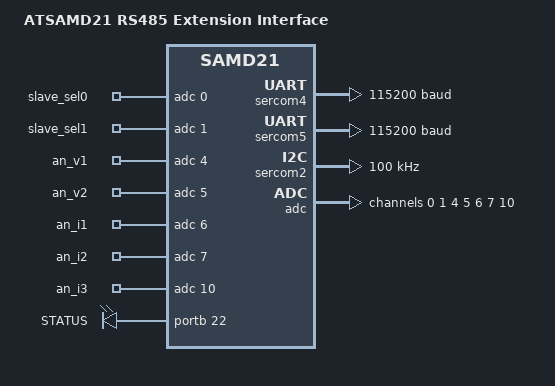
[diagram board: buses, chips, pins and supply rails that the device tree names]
/*
 * Copyright (c) 2020 Google LLC.
 *
 * SPDX-License-Identifier: Apache-2.0
 */

/dts-v1/;
#include <atmel/samd21.dtsi>
#include <atmel/samx2xx18.dtsi>
#include "atsamd21_rs485_ext-pinctrl.dtsi"

/ {
	model = "ATSAMD21 RS485 Extension Interface";
	compatible = "samd21,atsamd21_rs485_ext", "atmel,samd21g18a", "atmel,samd21";

	chosen {
		zephyr,console = &sercom4;
		zephyr,shell-uart = &sercom4;
		zephyr,sram = &sram0;
		zephyr,flash = &flash0;
		zephyr,code-partition = &code_partition;
	};

	zephyr,user {
		io-channels = <&adc 0>, <&adc 1>, <&adc 4>, <&adc 5>, <&adc 6>, <&adc 7>, <&adc 10>;
		io-channel-names = "slave_sel0", "slave_sel1", "an_v1", "an_v2", "an_i1", "an_i2", "an_i3";
	};

	/* Status LED on PB22 */
	leds {
		compatible = "gpio-leds";
		status_led: led_0 {
			gpios = <&portb 22 GPIO_ACTIVE_HIGH>;
			label = "STATUS";
		};
	};

	/* RS485 direction control (DE/RE) for ST1480ABDR */
	rs485_en {
		compatible = "gpio-rs485-en";
		rs485_en_1: rs485_en_1 {
			gpios = <&porta 11 GPIO_ACTIVE_HIGH>;
			label = "RS485_EN";
		};
	};

	/* Relay outputs — latched bistable relays (EC2-5TNU / G5RL-K1A-E-DC5) */
	relay_outputs {
		compatible = "gpio-generic";
		relay_set1: relay_set1 {
			gpios = <&porta 16 GPIO_ACTIVE_HIGH>;
			label = "RELAY_SET1";
			direction = "output";
		};
		relay_reset1: relay_reset1 {
			gpios = <&porta 14 GPIO_ACTIVE_HIGH>;
			label = "RELAY_RESET1";
			direction = "output";
		};
		relay_set2: relay_set2 {
			gpios = <&porta 17 GPIO_ACTIVE_HIGH>;
			label = "RELAY_SET2";
			direction = "output";
		};
		relay_reset2: relay_reset2 {
			gpios = <&porta 15 GPIO_ACTIVE_HIGH>;
			label = "RELAY_RESET2";
			direction = "output";
		};
	};

	/* Opto-coupled digital inputs (TLP185 — PLC 0-24V / free-voltage contact) */
	digital_inputs {
		compatible = "gpio-generic";
		opto_in1: opto_in1 {
			gpios = <&porta 19 GPIO_ACTIVE_HIGH>;
			label = "OPTO1";
			direction = "input";
		};
		opto_in2: opto_in2 {
			gpios = <&porta 20 GPIO_ACTIVE_HIGH>;
			label = "OPTO2";
			direction = "input";
		};
	};

	/* Miscellaneous control GPIOs */
	control_gpios {
		compatible = "gpio-generic";
		/* Enables analog front-end power (DMC2400UV gate) */
		analog_enable: analog_enable {
			gpios = <&porta 10 GPIO_ACTIVE_HIGH>;
			label = "ANALOG_ENABLE";
			direction = "output";
		};
		/* RS485 transceiver power enable (DMC2400UV gate) */
		rs485_pwr_en: rs485_pwr_en {
			gpios = <&porta 18 GPIO_ACTIVE_HIGH>;
			label = "RS485_PWR_EN";
			direction = "output";
		};
		/* External supply presence sense (via 2N7002 FET) */
		ext_sense: ext_sense {
			gpios = <&porta 21 GPIO_ACTIVE_LOW>;
			label = "EXT_SENSE";
			direction = "input";
		};
	};

	aliases {
		led0 = &status_led;
		rs485-uart = &sercom5;
		modbus-serial = &sercom5;
	};
};

&cpu0 {
	clock-frequency = <48000000>;
};

/* Debug / console UART — SERCOM4, PB08=TX, PB09=RX */
&sercom4 {
	status = "okay";
	compatible = "atmel,sam0-uart";
	current-speed = <115200>;
	rxpo = <1>;
	txpo = <0>;

	pinctrl-0 = <&sercom4_uart_default>;
	pinctrl-names = "default";
};

/* RS485 / Modbus RTU UART — SERCOM5, PA22=TX, PA23=RX */
&sercom5 {
	status = "okay";
	compatible = "atmel,sam0-uart";
	current-speed = <115200>;
	rxpo = <1>;
	txpo = <0>;

	pinctrl-0 = <&sercom5_rs485_default>;
	pinctrl-names = "default";
};

/* I2C master — SERCOM2, PA12=SDA, PA13=SCL */
&sercom2 {
	status = "okay";
	compatible = "atmel,sam0-i2c";
	clock-frequency = <I2C_BITRATE_STANDARD>;
	#address-cells = <1>;
	#size-cells = <0>;

	pinctrl-0 = <&sercom2_i2c_default>;
	pinctrl-names = "default";
};

/* ADC — analog inputs
 *   AIN[0]  = PA00 : SLAVE_SEL0 (resistor-ladder address bit 0)
 *   AIN[1]  = PA01 : SLAVE_SEL1 (resistor-ladder address bit 1)
 *   AIN[4]  = PA04 : ucAN_V1    (voltage input 1, range-selectable 0-10V/5V/3V3)
 *   AIN[5]  = PA05 : ucAN_V2    (voltage input 2, range-selectable 0-10V/5V/3V3)
 *   AIN[6]  = PA06 : ucAN_I1    (current input 1, 4-20mA)
 *   AIN[7]  = PA07 : ucAN_I2    (current input 2, 4-20mA)
 *   AIN[10] = PB02 : ucAN_I3    (current input 3, 4-20mA)
 */
&adc {
	status = "okay";
	#address-cells = <1>;
	#size-cells = <0>;
	pinctrl-0 = <&adc0_adc>;
	pinctrl-names = "default";

	channel@0 {
		reg = <0>;
		zephyr,gain = "ADC_GAIN_1_2";
		zephyr,reference = "ADC_REF_VDD_1_2";
		zephyr,acquisition-time = <ADC_ACQ_TIME_DEFAULT>;
		zephyr,resolution = <12>;
		zephyr,input-positive = <0>;
		zephyr,vref-mv = <1650>;
	};

	channel@1 {
		reg = <1>;
		zephyr,gain = "ADC_GAIN_1_2";
		zephyr,reference = "ADC_REF_VDD_1_2";
		zephyr,acquisition-time = <ADC_ACQ_TIME_DEFAULT>;
		zephyr,resolution = <12>;
		zephyr,input-positive = <1>;
		zephyr,vref-mv = <1650>;
	};

	channel@4 {
		reg = <4>;
		zephyr,gain = "ADC_GAIN_1_2";
		zephyr,reference = "ADC_REF_VDD_1_2";
		zephyr,acquisition-time = <ADC_ACQ_TIME_DEFAULT>;
		zephyr,resolution = <12>;
		zephyr,input-positive = <4>;
		zephyr,vref-mv = <1650>;
	};

	channel@5 {
		reg = <5>;
		zephyr,gain = "ADC_GAIN_1_2";
		zephyr,reference = "ADC_REF_VDD_1_2";
		zephyr,acquisition-time = <ADC_ACQ_TIME_DEFAULT>;
		zephyr,resolution = <12>;
		zephyr,input-positive = <5>;
		zephyr,vref-mv = <1650>;
	};

	channel@6 {
		reg = <6>;
		zephyr,gain = "ADC_GAIN_1_2";
		zephyr,reference = "ADC_REF_VDD_1_2";
		zephyr,acquisition-time = <ADC_ACQ_TIME_DEFAULT>;
		zephyr,resolution = <12>;
		zephyr,input-positive = <6>;
		zephyr,vref-mv = <1650>;
	};

	channel@7 {
		reg = <7>;
		zephyr,gain = "ADC_GAIN_1_2";
		zephyr,reference = "ADC_REF_VDD_1_2";
		zephyr,acquisition-time = <ADC_ACQ_TIME_DEFAULT>;
		zephyr,resolution = <12>;
		zephyr,input-positive = <7>;
		zephyr,vref-mv = <1650>;
	};

	channel@10 {
		reg = <10>;
		zephyr,gain = "ADC_GAIN_1_2";
		zephyr,reference = "ADC_REF_VDD_1_2";
		zephyr,acquisition-time = <ADC_ACQ_TIME_DEFAULT>;
		zephyr,resolution = <12>;
		zephyr,input-positive = <10>;
		zephyr,vref-mv = <1650>;
	};
};

&flash0 {
	partitions {
		compatible = "fixed-partitions";
		#address-cells = <1>;
		#size-cells = <1>;

		code_partition: partition@0 {
			label = "code";
			reg = <0x00000000 DT_SIZE_K(240)>; /* Full flash minus storage */
		};

		storage_partition: partition@3c000 {
			label = "storage";
			reg = <0x0003c000 DT_SIZE_K(16)>;
		};
	};
};
